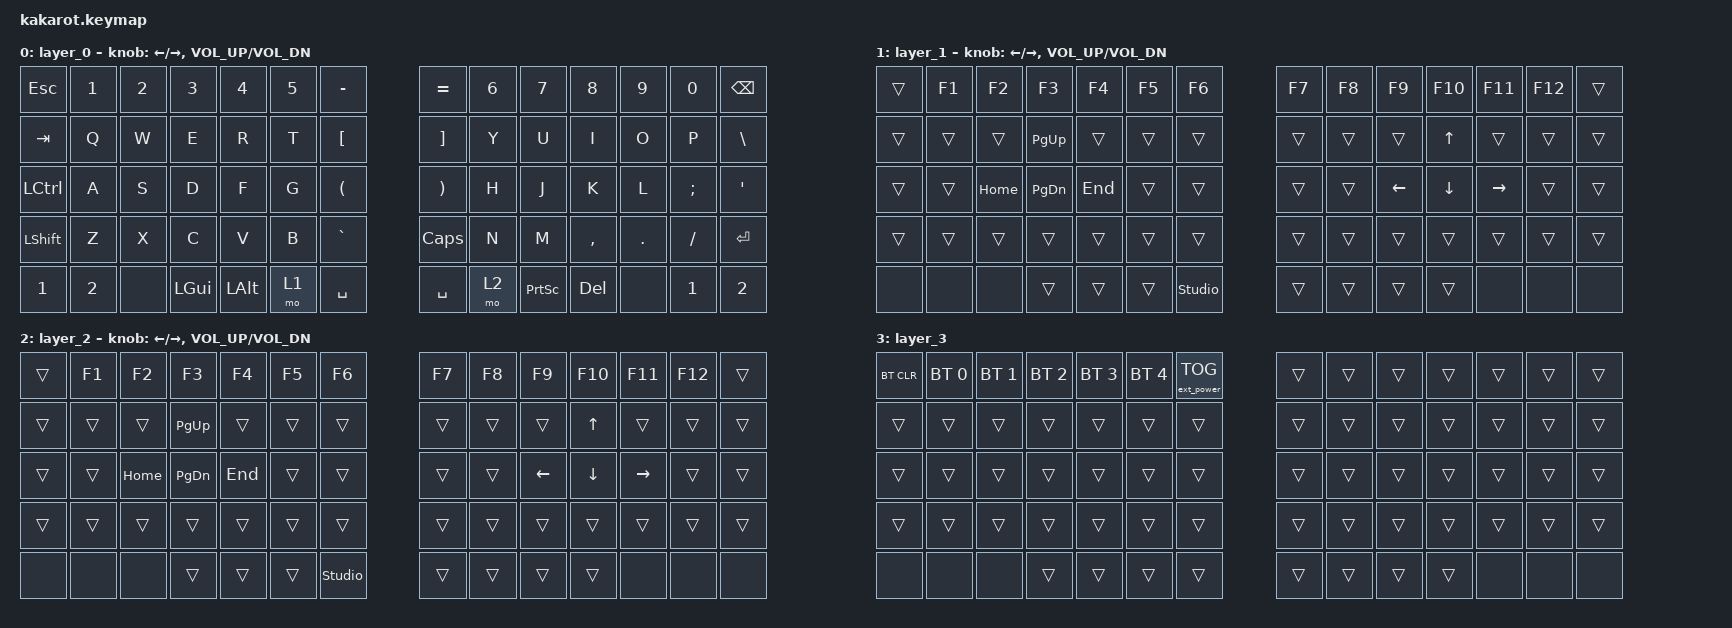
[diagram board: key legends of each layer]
#include <behaviors.dtsi>
#include <dt-bindings/zmk/bt.h>
#include <dt-bindings/zmk/ext_power.h>
#include <dt-bindings/zmk/keys.h>

/ {
    keymap {
        compatible = "zmk,keymap";

        layer_0 {
            bindings = <
&kp ESC    &kp N1  &kp N2  &kp N3    &kp N4    &kp N5  &kp MINUS       &kp EQUAL  &kp N6  &kp N7           &kp N8     &kp N9   &kp N0    &kp BSPC
&kp TAB    &kp Q   &kp W   &kp E     &kp R     &kp T   &kp LBKT        &kp RBKT   &kp Y   &kp U            &kp I      &kp O    &kp P     &kp BSLH
&kp LCTRL  &kp A   &kp S   &kp D     &kp F     &kp G   &kp LPAR        &kp RPAR   &kp H   &kp J            &kp K      &kp L    &kp SEMI  &kp SQT
&kp LSHFT  &kp Z   &kp X   &kp C     &kp V     &kp B   &kp GRAVE       &kp CAPS   &kp N   &kp M            &kp COMMA  &kp DOT  &kp FSLH  &kp RET
&kp N1     &kp N2  &none   &kp LGUI  &kp LALT  &mo 1   &kp SPACE       &kp SPACE  &mo 2   &kp PRINTSCREEN  &kp DEL    &none    &kp N1    &kp N2 
            >;

            sensor-bindings = <&inc_dec_kp LEFT RIGHT &inc_dec_kp C_VOL_UP C_VOL_DN>;
        };

        layer_1 {
            bindings = <
&trans  &kp F1  &kp F2    &kp F3     &kp F4   &kp F5  &kp F6            &kp F7  &kp F8  &kp F9    &kp F10   &kp F11    &kp F12  &trans
&trans  &trans  &trans    &kp PG_UP  &trans   &trans  &trans            &trans  &trans  &trans    &kp UP    &trans     &trans   &trans
&trans  &trans  &kp HOME  &kp PG_DN  &kp END  &trans  &trans            &trans  &trans  &kp LEFT  &kp DOWN  &kp RIGHT  &trans   &trans
&trans  &trans  &trans    &trans     &trans   &trans  &trans            &trans  &trans  &trans    &trans    &trans     &trans   &trans
&none    &none  &none     &trans     &trans   &trans  &studio_unlock    &trans  &trans  &trans    &trans    &none      &none    &none
            >;

            sensor-bindings = <&inc_dec_kp LEFT RIGHT &inc_dec_kp C_VOL_UP C_VOL_DN>;
        };

        layer_2 {
            bindings = <
&trans  &kp F1  &kp F2    &kp F3     &kp F4   &kp F5  &kp F6            &kp F7  &kp F8  &kp F9    &kp F10   &kp F11    &kp F12  &trans
&trans  &trans  &trans    &kp PG_UP  &trans   &trans  &trans            &trans  &trans  &trans    &kp UP    &trans     &trans   &trans
&trans  &trans  &kp HOME  &kp PG_DN  &kp END  &trans  &trans            &trans  &trans  &kp LEFT  &kp DOWN  &kp RIGHT  &trans   &trans
&trans  &trans  &trans    &trans     &trans   &trans  &trans            &trans  &trans  &trans    &trans    &trans     &trans   &trans
&none    &none  &none     &trans     &trans   &trans  &studio_unlock    &trans  &trans  &trans    &trans    &none      &none    &none
            >;

            sensor-bindings = <&inc_dec_kp LEFT RIGHT &inc_dec_kp C_VOL_UP C_VOL_DN>;
        };

        layer_3 {
            bindings = <
&bt BT_CLR  &bt BT_SEL 0  &bt BT_SEL 1  &bt BT_SEL 2  &bt BT_SEL 3  &bt BT_SEL 4  &ext_power EP_TOG  &trans  &trans  &trans  &trans  &trans  &trans  &trans
&trans      &trans        &trans        &trans        &trans        &trans        &trans             &trans  &trans  &trans  &trans  &trans  &trans  &trans
&trans      &trans        &trans        &trans        &trans        &trans        &trans             &trans  &trans  &trans  &trans  &trans  &trans  &trans
&trans      &trans        &trans        &trans        &trans        &trans        &trans             &trans  &trans  &trans  &trans  &trans  &trans  &trans
&none       &none         &none         &trans        &trans        &trans        &trans             &trans  &trans  &trans  &trans  &none   &none    &none
            >;
        };
    };

    conditional_layers {
        compatible = "zmk,conditional-layers";

        adjust {
            if-layers = <1 2>;
            then-layer = <3>;
        };
    };
};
